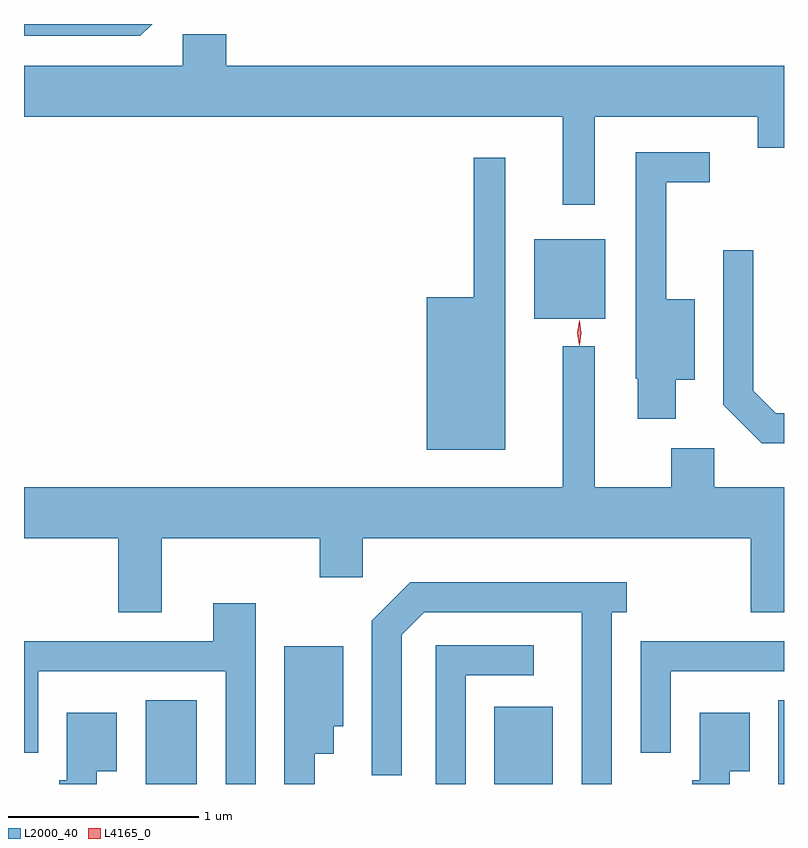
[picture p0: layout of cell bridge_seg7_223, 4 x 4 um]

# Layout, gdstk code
import gdstk
lib = gdstk.Library(unit=1e-6, precision=1e-09)
def R(c, l, rs):  # rectangles x0, y0, x1, y1
    for r in rs: c.add(gdstk.rectangle(r[:2], r[2:], *l))
def P(c, l, *ps):  # polygons
    for p in ps: c.add(gdstk.Polygon(p, *l))
L2000_40 = (2000, 40)
L4165_0 = (4165, 0)

bridge_seg7_223 = lib.new_cell('bridge_seg7_223')
R(bridge_seg7_223, L2000_40, [(1724.526,1686.383,1724.794,1686.824), (1726.361,1686.383,1726.669,1686.789), (1727.856,1686.383,1727.885,1686.824), (1726.571,1688.831,1726.944,1689.249)])
P(bridge_seg7_223, L2000_40, [(1724.559,1690.383),(1723.885,1690.383),(1723.885,1690.321),(1724.497,1690.321)],
  [(1726.889,1689.896),(1727.746,1689.896),(1727.746,1689.731),(1727.885,1689.731),(1727.885,1690.164),(1724.949,1690.164),(1724.949,1690.329),(1724.721,1690.329),(1724.721,1690.164),(1723.885,1690.164),(1723.885,1689.896),(1726.721,1689.896),(1726.721,1689.433),(1726.889,1689.433)],
  [(1727.314,1688.511),(1727.414,1688.511),(1727.414,1688.934),(1727.264,1688.934),(1727.264,1689.551),(1727.493,1689.551),(1727.493,1689.709),(1727.106,1689.709),(1727.106,1688.515),(1727.116,1688.515),(1727.116,1688.306),(1727.314,1688.306)],
  [(1726.419,1689.678),(1726.251,1689.678),(1726.251,1688.944),(1726.006,1688.944),(1726.006,1688.141),(1726.419,1688.141)],
  [(1727.885,1688.334),(1727.842,1688.334),(1727.724,1688.452),(1727.724,1689.193),(1727.566,1689.193),(1727.566,1688.379),(1727.769,1688.176),(1727.885,1688.176)],
  [(1724.609,1687.676),(1725.441,1687.676),(1725.441,1687.471),(1725.669,1687.471),(1725.669,1687.676),(1727.711,1687.676),(1727.711,1687.286),(1727.885,1687.286),(1727.885,1687.944),(1727.519,1687.944),(1727.519,1688.149),(1727.291,1688.149),(1727.291,1687.944),(1726.889,1687.944),(1726.889,1688.688),(1726.721,1688.688),(1726.721,1687.944),(1723.885,1687.944),(1723.885,1687.676),(1724.381,1687.676),(1724.381,1687.286),(1724.609,1687.286)],
  [(1726.979,1687.286),(1727.058,1687.286),(1727.058,1687.444),(1725.919,1687.444),(1725.716,1687.242),(1725.716,1686.428),(1725.874,1686.428),(1725.874,1687.169),(1725.992,1687.286),(1726.821,1687.286),(1726.821,1686.383),(1726.979,1686.383)],
  [(1725.104,1687.334),(1724.881,1687.334),(1724.881,1687.134),(1723.885,1687.134),(1723.885,1686.548),(1723.959,1686.548),(1723.959,1686.976),(1724.946,1686.976),(1724.946,1686.383),(1725.104,1686.383)],
  [(1727.289,1686.976),(1727.885,1686.976),(1727.885,1687.134),(1727.131,1687.134),(1727.131,1686.548),(1727.289,1686.548)],
  [(1726.209,1686.956),(1726.568,1686.956),(1726.568,1687.114),(1726.051,1687.114),(1726.051,1686.383),(1726.209,1686.383)],
  [(1725.414,1686.541),(1725.514,1686.541),(1725.514,1686.686),(1725.564,1686.686),(1725.564,1687.109),(1725.256,1687.109),(1725.256,1686.383),(1725.414,1686.383)],
  [(1727.599,1686.451),(1727.704,1686.451),(1727.704,1686.759),(1727.441,1686.759),(1727.441,1686.404),(1727.401,1686.404),(1727.401,1686.383),(1727.599,1686.383)],
  [(1724.269,1686.451),(1724.374,1686.451),(1724.374,1686.759),(1724.111,1686.759),(1724.111,1686.404),(1724.071,1686.404),(1724.071,1686.383),(1724.269,1686.383)])
P(bridge_seg7_223, L4165_0, [(1726.808,1688.692),(1726.808,1688.693),(1726.798,1688.757),(1726.808,1688.821),(1726.808,1688.821),(1726.809,1688.821),(1726.818,1688.757),(1726.809,1688.693)])

lib.write_gds('bridge_seg7_223.gds')
